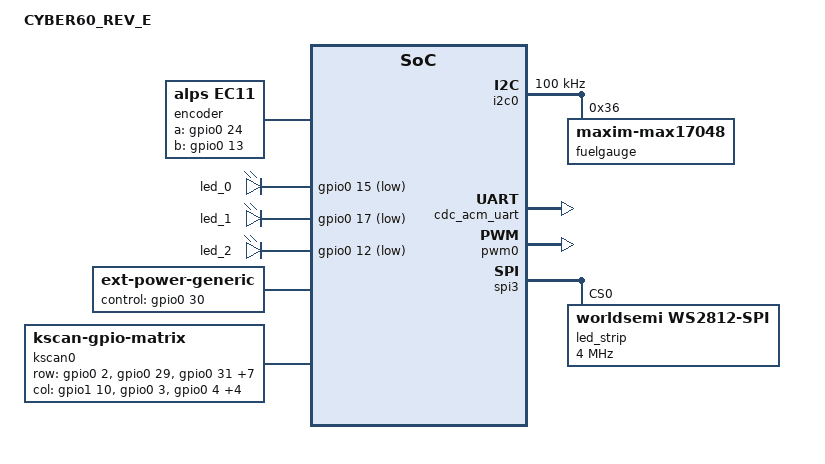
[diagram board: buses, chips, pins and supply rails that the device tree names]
/*
 * Copyright (c) 2025 Stefan Sundin (4pplet)
 *
 * SPDX-License-Identifier: MIT
 */

/*
 * Currently not implemented:
 * BQ24075 Charge status (inverted logic): P1.13
 * BQ24075 Power good (inverted logic): P0.06
 * Connected directly with a series 10k resistor
 */

#include <dt-bindings/led/led.h>
#include "cyber60_rev_e-pinctrl.dtsi"
#include "cyber60_rev_e-layouts.dtsi"
#include "cyber60_rev_e-transforms.dtsi"

/ {
    model = "CYBER60_REV_E";
    compatible = "applet,cyber60";

    chosen {
        zmk,kscan = &kscan0;
        zmk,physical-layout = &layout_0;
        zmk,underglow = &led_strip;
        zmk,battery = &fuelgauge;
        zmk,studio-rpc-uart = &cdc_acm_uart;
    };

    sensors {
        compatible = "zmk,keymap-sensors";
        sensors = <&encoder>;
    };

    encoder: encoder_1 {
        compatible = "alps,ec11";
        a-gpios = <&gpio0 24 (GPIO_ACTIVE_HIGH | GPIO_PULL_UP)>;
        b-gpios = <&gpio0 13 (GPIO_ACTIVE_HIGH | GPIO_PULL_UP)>;
    };

    buzzer: pwm_buzzer {
        compatible = "pwm-buzzer";
        pwms = <&pwm0 0 1000 PWM_POLARITY_NORMAL>;
        status = "disabled";
    };

    leds {
        compatible = "gpio-leds";
        led_0: led_green {
            gpios = <&gpio0 15 GPIO_ACTIVE_LOW>;
            status = "okay";
        };
        led_1: led_red {
            gpios = <&gpio0 17 GPIO_ACTIVE_LOW>;
            status = "okay";
        };
        led_2: led_blue {
            gpios = <&gpio0 12 GPIO_ACTIVE_LOW>;
            status = "okay";
        };
    };

    aliases {
        ledgreen = &led_0;
        ledred   = &led_1;
        ledblue  = &led_2;
        buzzer = &buzzer;
    };

    ext-power {
        compatible = "zmk,ext-power-generic";
        control-gpios = <&gpio0 30 GPIO_ACTIVE_HIGH>;
    };

    kscan0: kscan {
        compatible = "zmk,kscan-gpio-matrix";
        wakeup-source;
        diode-direction = "col2row";
        row-gpios
            = <&gpio0 2  (GPIO_ACTIVE_HIGH | GPIO_PULL_DOWN)>
            , <&gpio0 29 (GPIO_ACTIVE_HIGH | GPIO_PULL_DOWN)>
            , <&gpio0 31 (GPIO_ACTIVE_HIGH | GPIO_PULL_DOWN)>
            , <&gpio1 0 (GPIO_ACTIVE_HIGH | GPIO_PULL_DOWN)>
            , <&gpio0 26 (GPIO_ACTIVE_HIGH | GPIO_PULL_DOWN)>
            , <&gpio0 22 (GPIO_ACTIVE_HIGH | GPIO_PULL_DOWN)>
            , <&gpio0 8 (GPIO_ACTIVE_HIGH | GPIO_PULL_DOWN)>
            , <&gpio0 9 (GPIO_ACTIVE_HIGH | GPIO_PULL_DOWN)>
            , <&gpio1 4 (GPIO_ACTIVE_HIGH | GPIO_PULL_DOWN)>
            , <&gpio1 11 (GPIO_ACTIVE_HIGH | GPIO_PULL_DOWN)>
            ;
        col-gpios
            = <&gpio1 10  GPIO_ACTIVE_HIGH>
            , <&gpio0 3  GPIO_ACTIVE_HIGH>
            , <&gpio0 4  GPIO_ACTIVE_HIGH>
            , <&gpio0 28 GPIO_ACTIVE_HIGH>
            , <&gpio1 6 GPIO_ACTIVE_HIGH>
            , <&gpio0 10  GPIO_ACTIVE_HIGH>
            , <&gpio1 2 GPIO_ACTIVE_HIGH>
            ;
    };
};

&i2c0 {
    status = "okay";
    compatible = "nordic,nrf-twim";
    pinctrl-0 = <&i2c0_default>;
    pinctrl-1 = <&i2c0_sleep>;
    pinctrl-names = "default", "sleep";
    clock-frequency = <100000>;

    fuelgauge: max17048@36 {
        compatible = "zmk,maxim-max17048";
        reg = <0x36>;
    };
};

&usbd {
    cdc_acm_uart: cdc_acm_uart {
        compatible = "zephyr,cdc-acm-uart";
    };
};

&pwm0 {
    status = "okay";
    pinctrl-0 = <&pwm0_default>;
    pinctrl-1 = <&pwm0_sleep>;
    pinctrl-names = "default", "sleep";
};

&spi3 {
    compatible = "nordic,nrf-spim";
    status = "okay";
    pinctrl-0 = <&spi3_default>;
    pinctrl-1 = <&spi3_sleep>;
    pinctrl-names = "default", "sleep";
    led_strip: ws2812@0 {
        compatible = "worldsemi,ws2812-spi";
        reg = <0>;
        spi-max-frequency = <4000000>;
        chain-length = <16>;
        spi-one-frame = <0x70>;
        spi-zero-frame = <0x40>;
        color-mapping = <LED_COLOR_ID_GREEN LED_COLOR_ID_RED LED_COLOR_ID_BLUE>;
    };
};
